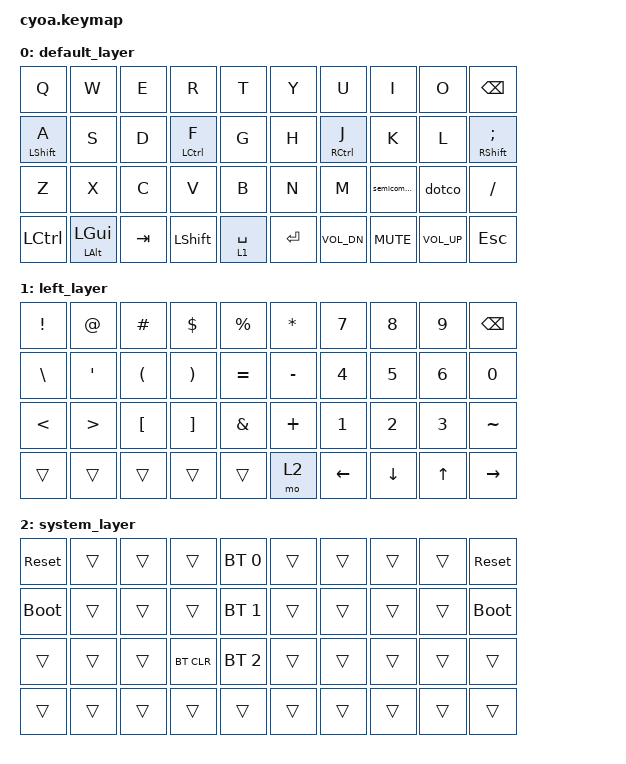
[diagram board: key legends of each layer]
// Copyright (c) 2022 The ZMK Contributors
// CYOA Ortho 4x10 port of cradio.keymap
// SPDX-License-Identifier: MIT

#include <behaviors.dtsi>
#include <dt-bindings/zmk/keys.h>
#include <dt-bindings/zmk/bt.h>

// Home row mods macro
// #define HYPR LC(LA(LG(LSHFT)))
#define HYPR(k1) &kp LC(LA(LG(LS(k1))))
/ {
    behaviors {
        ht: hold_tap {
            compatible = "zmk,behavior-hold-tap";
            #binding-cells = <2>;
            flavor = "tap-preferred";
            tapping-term-ms = <220>;
            quick-tap-ms = <150>;
            require-prior-idle-ms = <100>;
            bindings = <&kp>, <&kp>;
        };
        caps: capsword {
            compatible = "zmk,behavior-tap-dance";
            #binding-cells = <0>;
            tapping-term-ms = <200>;
            bindings = <&sk RSHFT>, <&caps_word>;
        };
        semicomma: comma_semi {
            compatible = "zmk,behavior-mod-morph";
            #binding-cells = <0>;
            bindings = <&kp COMMA>, <&kp P>;
            mods = <(MOD_LSFT|MOD_RSFT)>;
        };
        dotco: dot_colon {
            compatible = "zmk,behavior-mod-morph";
            #binding-cells = <0>;
            bindings = <&kp DOT>, <&kp LS(P)>;
            mods = <(MOD_LSFT|MOD_RSFT)>;
        };
    };

    keymap {
        compatible = "zmk,keymap";
        default_layer {
            bindings = <
        //╭──────────┬──────────┬──────────┬──────────┬──────────╮   ╭──────────┬──────────┬──────────┬──────────┬──────────╮
        //│  Q       │  W       │  E       │  R       │  T       │   │  Y       │  U       │  I       │  O       │  BSPC    │
           &kp Q      &kp W      &kp E      &kp R      &kp T          &kp Y      &kp U      &kp I      &kp O      &kp BSPC
        //├──────────┼──────────┼──────────┼──────────┼──────────┤   ├──────────┼──────────┼──────────┼──────────┼──────────┤
        //│  A       │  S       │  D       │  F       │  G       │   │  H       │  J       │  K       │  L       │; "       │
          &ht LSHFT A &kp S      &kp D      &ht LCTRL F &kp G         &kp H      &ht RCTRL J &kp K     &kp L     &ht RSHFT SEMI
        //├──────────┼──────────┼──────────┼──────────┼──────────┤   ├──────────┼──────────┼──────────┼──────────┼──────────┤
        //│  Z       │  X       │  C       │  V       │  B       │   │  N       │  M       │ , ;      │ . :      │ / ?      │
          &kp Z      &kp X      &kp C      &kp V      &kp B          &kp N      &kp M      &semicomma &dotco     &kp FSLH
        //├──────────┼──────────┼──────────┼──────────┼──────────┤   ├──────────┼──────────┼──────────┼──────────┼──────────┤
        //│ CTRL     │ ALT/GUI  │ TAB      │ SHIFT    │ SPACE/L1 │   │ ENTER    │ VOL DN   │ MUTE     │ VOL UP   │ ESC      │
           &kp LCTRL  &ht LALT LGUI &kp TAB &kp LSHFT &lt 1 SPACE  &kp ENTER &kp C_VOL_DN &kp C_MUTE &kp C_VOL_UP &kp ESC
        //╰──────────┴──────────┴──────────┴──────────┴──────────╯   ╰──────────┴──────────┴──────────┴──────────┴──────────╯
            >;
        };

        left_layer {
            bindings = <
        //╭──────────┬──────────┬──────────┬──────────┬──────────╮   ╭──────────┬──────────┬──────────┬──────────┬──────────╮
        //│ !        │  @       │  #       │  $       │  %       │   │ *        │ 7        │ 8        │ 9        │ BSPC     │
           &kp EXCL   &kp AT     &kp HASH   &kp DLLR   &kp PRCNT      &kp ASTRK  &kp N7     &kp N8     &kp N9     &kp BSPC
        //├──────────┼──────────┼──────────┼──────────┼──────────┤   ├──────────┼──────────┼──────────┼──────────┼──────────┤
        //│  \       │  '       │  (       │  )       │  =       │   │ -        │ 4        │ 5        │ 6        │  0       │
           &kp BSLH   &kp SQT    &kp LPAR   &kp RPAR   &kp EQUAL      &kp MINUS  &kp N4     &kp N5     &kp N6     &kp N0
        //├──────────┼──────────┼──────────┼──────────┼──────────┤   ├──────────┼──────────┼──────────┼──────────┼──────────┤
        //│ <        │  >       │  [       │  ]       │   &      │   │ +        │ 1        │  2       │ 3        │  TILDE   │
           &kp LT     &kp GT     &kp LBKT   &kp RBKT   &kp AMPS       &kp PLUS   &kp N1     &kp N2     &kp N3     &kp TILDE
        //├──────────┼──────────┼──────────┼──────────┼──────────┤   ├──────────┼──────────┼──────────┼──────────┼──────────┤
        //│          │          │          │          │          │   │ BT/BOOT  │ LEFT     │ DOWN     │ UP       │ RIGHT    │
           &trans     &trans     &trans     &trans     &trans         &mo 2      &kp LEFT   &kp DOWN   &kp UP     &kp RIGHT
        //╰──────────┴──────────┴──────────┴──────────┴──────────╯   ╰──────────┴──────────┴──────────┴──────────┴──────────╯
            >;
        };


        system_layer {
            bindings = <
        //╭──────────┬──────────┬──────────┬──────────┬──────────╮   ╭──────────┬──────────┬──────────┬──────────┬──────────╮
        //│ RESET    │          │          │          │PROFILE 0 │   │          │          │          │          │  RESET   │
           &sys_reset  &trans     &trans     &trans    &bt BT_SEL 0    &trans     &trans     &trans     &trans    &sys_reset
        //├──────────┼──────────┼──────────┼──────────┼──────────┤   ├──────────┼──────────┼──────────┼──────────┼──────────┤
        //│BOOTLOADER│          │          │          │PROFILE 1 │   │          │          │          │          │BOOTLOADER│
          &bootloader  &trans     &trans     &trans    &bt BT_SEL 1    &trans     &trans     &trans     &trans    &bootloader
        //├──────────┼──────────┼──────────┼──────────┼──────────┤   ├──────────┼──────────┼──────────┼──────────┼──────────┤
        //│          │          │          │ CLEAR BT │PROFILE 2 │   │          │          │          │          │          │
            &trans     &trans     &trans    &bt BT_CLR &bt BT_SEL 2    &trans     &trans     &trans     &trans     &trans
        //├──────────┼──────────┼──────────┼──────────┼──────────┤   ├──────────┼──────────┼──────────┼──────────┼──────────┤
           &trans     &trans     &trans    &trans     &trans         &trans     &trans     &trans     &trans     &trans
        //╰──────────┴──────────┴──────────┴──────────┴──────────╯   ╰──────────┴──────────┴──────────┴──────────┴──────────╯
            >;
        };
    };
};
